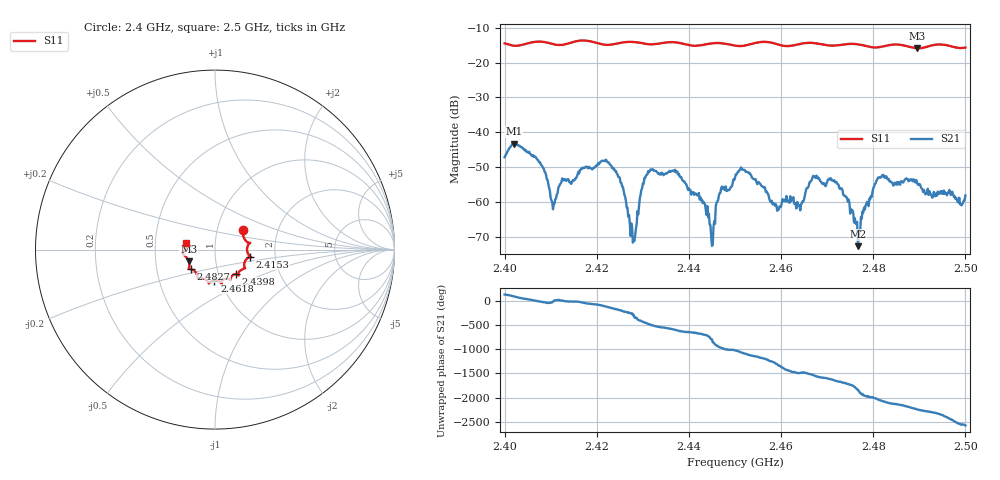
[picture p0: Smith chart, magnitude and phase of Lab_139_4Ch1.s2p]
# Hz S RI R 50
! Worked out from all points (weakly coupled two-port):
!   601 points, 2.4 GHz to 2.5 GHz, reference 50 ohm
!   highest |S21| = -43.23 dB at 2.402 GHz (marker M1); lowest = -72.6 dB at 2.4767 GHz (marker M2)
!   lowest |S11| = -15.9 dB at 2.4895 GHz (marker M3), VSWR 1.38, Z = 37 - j5 ohm
!   |S11| at or under -10 dB: start of sweep to end of sweep
!   S12 and S22 are empty: the file has one direction only
!   S11 on the Smith chart (normalised r, x): 2.4 GHz: 1.33, +0.29; 2.4153 GHz: 1.48, -0.12; 2.4398 GHz: 1.21, -0.34; 2.4618 GHz: 0.94, -0.33; 2.4827 GHz: 0.75, -0.17; 2.5 GHz: 0.72, +0.06
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2.4e9  0.1553 0.1064  -0.0024 0.00367  0 0  0 0
2.402e9  0.1579 0.0739  0.000699 0.00686  0 0  0 0
2.407833e9  0.1954 0.0376  0.00316 -0.00152  0 0  0 0
2.4105e9  0.1826 0.0211  0.000732 -0.000294  0 0  0 0
2.415333e9  0.1964 -0.0392  0.00207 -0.000704  0 0  0 0
2.416667e9  0.2023 -0.0431  0.00243 -0.00182  0 0  0 0
2.423667e9  0.1625 -0.0843  -0.00285 -0.00074  0 0  0 0
2.427833e9  0.1675 -0.104  0.000131 0.000228  0 0  0 0
2.4305e9  0.1477 -0.1125  -0.000263 -0.0022  0 0  0 0
2.433333e9  0.1298 -0.1337  -0.00254 0.000139  0 0  0 0
2.439833e9  0.1157 -0.1361  0.000406 0.00143  0 0  0 0
2.445167e9  0.0839 -0.1693  -0.000189 -0.000157  0 0  0 0
2.446667e9  0.0845 -0.1703  -0.000623 0.00119  0 0  0 0
2.45e9  0.0652 -0.1623  0.00136 0.00175  0 0  0 0
2.461833e9  -0.0035 -0.1727  0.000948 -0.000232  0 0  0 0
2.466667e9  -0.0347 -0.188  0.000124 -0.00207  0 0  0 0
2.472e9  -0.0701 -0.1611  -0.00154 0.0012  0 0  0 0
2.476667e9  -0.0963 -0.155  0.000174 -0.000156  0 0  0 0
2.482667e9  -0.1348 -0.1086  0.000918 0.00202  0 0  0 0
2.483333e9  -0.14 -0.1083  0.00137 0.00166  0 0  0 0
2.4895e9  -0.1458 -0.0658  0.000181 -0.0019  0 0  0 0
2.5e9  -0.1594 0.0384  0.0007 -0.00103  0 0  0 0
